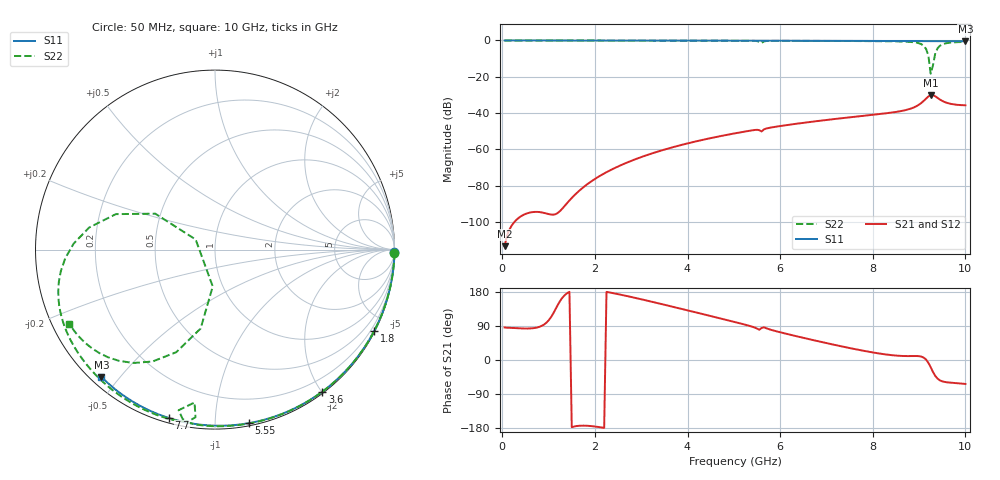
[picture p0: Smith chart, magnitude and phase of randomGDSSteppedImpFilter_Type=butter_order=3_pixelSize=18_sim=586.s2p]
! freq	dB(S11)	phase(S11)	dB(S12)	phase(S12)
!  dB(S21)	phase(S21)	dB(S22)	phase(S22)
!S-par simulation data
#  GHz  S  DB  R 50
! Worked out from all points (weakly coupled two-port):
!   200 points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, 50 MHz to 10 GHz, reference 50 ohm
!   highest |S21| = -30.14 dB at 9.25 GHz (marker M1); lowest = -113.3 dB at 50 MHz (marker M2)
!   lowest |S11| = -0.4 dB at 10 GHz (marker M3), VSWR 39.13, Z = 1.53 - j22.4 ohm
!   |S11| at or under -10 dB: nowhere
!   |S22| runs from -18.3 to 0.0 dB; largest |S21 - S12| = 0
!   S11 on the Smith chart (normalised r, x): 50 MHz: open; 1.8 GHz: 0.04, -4.16; 3.6 GHz: 0.02, -2.01; 5.55 GHz: 0.02, -1.21; 7.7 GHz: 0.02, -0.76; 10 GHz: 0.03, -0.45
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0.05  -0.00 -0.8  -113.31 86.0  -113.31 86.0  -0.00 -1.0
1.75  -0.03 -26.3  -80.87 -173.2  -80.87 -173.2  -0.04 -33.1
1.8  -0.03 -27.0  -79.86 -173.3  -79.86 -173.3  -0.04 -34.0
2.5  -0.05 -37.3  -69.40 173.8  -69.40 173.8  -0.06 -46.8
3.4  -0.07 -50.1  -60.88 148.8  -60.88 148.8  -0.08 -62.8
3.6  -0.07 -52.9  -59.39 142.9  -59.39 142.9  -0.09 -66.3
5.05  -0.11 -72.4  -51.04 99.3  -51.04 99.3  -0.14 -91.1
5.55  -0.13 -78.9  -49.44 79.7  -49.44 79.7  -0.75 -102.7
5.65  -0.13 -80.2  -49.00 86.4  -49.00 86.4  -0.53 -96.6
6.7  -0.18 -93.3  -44.73 52.8  -44.73 52.8  -0.23 -117.0
7.7  -0.24 -105.3  -41.79 26.7  -41.79 26.7  -0.32 -134.2
8.35  -0.29 -112.9  -39.91 13.6  -39.91 13.6  -0.45 -147.6
8.8  -0.33 -118.1  -37.72 10.4  -37.72 10.4  -0.78 -162.6
9  -0.34 -120.4  -35.33 10.1  -35.33 10.1  -1.55 -176.6
9.1  -0.35 -121.5  -33.26 6.2  -33.26 6.2  -2.96 170.0
9.2  -0.36 -122.7  -30.86 -7.2  -30.86 -7.2  -8.22 149.0
9.25  -0.36 -123.2  -30.14 -18.9  -30.14 -18.9  -18.31 152.4
9.3  -0.37 -123.8  -30.14 -31.6  -30.14 -31.6  -13.73 -93.5
9.35  -0.37 -124.4  -30.77 -42.1  -30.77 -42.1  -6.99 -100.3
9.45  -0.38 -125.5  -32.52 -53.7  -32.52 -53.7  -2.93 -119.1
9.65  -0.41 -127.8  -34.73 -59.5  -34.73 -59.5  -1.26 -138.3
10  -0.44 -131.7  -35.71 -63.3  -35.71 -63.3  -0.81 -152.9
